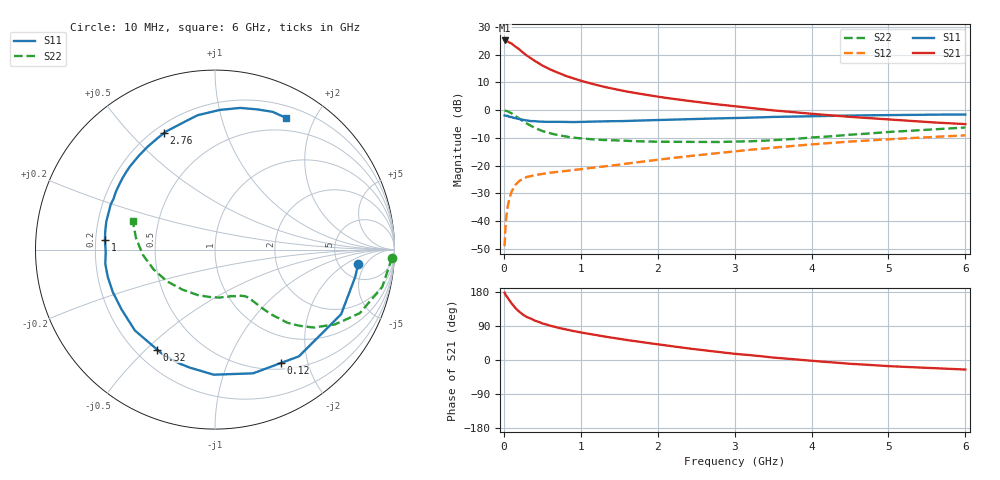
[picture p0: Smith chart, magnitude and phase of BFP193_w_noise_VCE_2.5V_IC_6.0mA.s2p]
! (c) 2016  Infineon Technologies AG, Munich
! Infineon Technologies  Discrete & RF Semiconductors
! BFP193
! VCE = 2.5 V,  IC =  6.0 mA
! Common Emitter S-Parameters:  Jan 2016
# GHz  S  MA  R  50
!  f  S11  S21  S12  S22
! GHz  MAG  ANG  MAG  ANG  MAG  ANG  MAG  ANG
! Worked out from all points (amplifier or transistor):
!   210 points, 10 MHz to 6 GHz, reference 50 ohm
!   highest |S21| = 25.2 dB at 10 MHz (marker M1)
!   |S21| within 3 dB of that: start of sweep to 189.1 MHz
!   unconditionally stable (mu >= 1): 1.204 GHz to 3.477 GHz
!   at 185 MHz: K = 0.24, MSG = 24.1 dB, |S12| = -26.0 dB
!   at 1.52 GHz: K = 1.09, MAG = 11.5 dB, |S12| = -19.6 dB
!   at 6 GHz: K = 0.91, MSG = 2.0 dB, |S12| = -9.1 dB
!   lowest NFmin = 1.20 dB at 450 MHz
!   S11 on the Smith chart (normalised r, x): 10 MHz: 7.51, -3.40; 120 MHz: 0.58, -1.58; 320 MHz: 0.28, -0.54; 1 GHz: 0.24, +0.04; 2.76 GHz: 0.24, +0.63; 6 GHz: 0.34, +1.63
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0.01  0.8014 -5.8  18.13 177.6  0.0035 90.9  0.9855 -2.6
0.02  0.7961 -10.9  17.69 173.0  0.0074 85.6  0.9766 -5.0
0.05  0.7896 -27.1  17.39 163.7  0.0182 77.5  0.9547 -12.6
0.1  0.7565 -51.8  16 149.5  0.0338 65.6  0.8812 -23.7
0.12  0.7305 -60.0  15.15 144.8  0.0381 61.2  0.8419 -26.8
0.15  0.7213 -72.9  14.1 136.8  0.0448 56.3  0.788 -31.9
0.2  0.697 -90.6  12.53 127.4  0.0525 49.2  0.7023 -38.2
0.26  0.6649 -107.3  10.65 118.3  0.0588 43.8  0.6153 -43.0
0.32  0.6436 -120.0  9.266 111.8  0.0632 40.6  0.552 -46.0
0.4  0.6342 -134.7  7.787 104.1  0.0671 37.5  0.4788 -49.0
0.5  0.6183 -147.2  6.396 96.6  0.0706 35.4  0.4196 -51.1
0.6  0.6168 -157.4  5.45 90.6  0.0741 34.9  0.3816 -52.5
0.8  0.6163 -172.6  4.184 80.7  0.0801 35.0  0.3346 -54.8
1  0.6156 175.2  3.398 72.7  0.0858 36.8  0.3093 -57.2
1.02  0.6162 174.2  3.339 72.0  0.0865 37.0  0.3076 -57.5
1.4  0.6328 156.9  2.462 59.0  0.0997 39.8  0.2871 -64.3
2.02  0.6634 135.1  1.733 40.9  0.1282 42.4  0.2688 -79.2
2.76  0.7087 113.6  1.28 21.9  0.1671 41.1  0.2658 -102.5
3.1  0.7255 105.6  1.135 14.6  0.1866 39.3  0.2719 -114.6
4.1  0.782 86.3  0.839 -3.7  0.2467 31.3  0.3266 -150.0
5.1  0.8182 72.1  0.664 -17.1  0.3033 20.6  0.4102 -178.7
6  0.8337 61.6  0.56 -25.2  0.3503 10.3  0.4861 160.6
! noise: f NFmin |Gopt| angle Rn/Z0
0.45  1.2  0.25  114  0.13
0.9  1.25  0.37  150  0.12
1.8  2  0.55  -158  0.12
